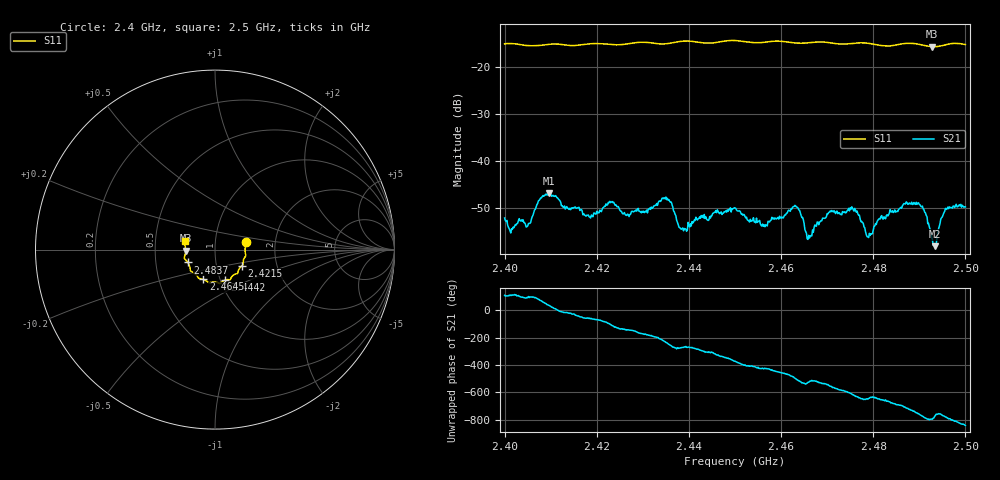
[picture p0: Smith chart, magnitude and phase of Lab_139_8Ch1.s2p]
# Hz S RI R 50
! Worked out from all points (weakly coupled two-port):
!   601 points, 2.4 GHz to 2.5 GHz, reference 50 ohm
!   highest |S21| = -46.96 dB at 2.4097 GHz (marker M1); lowest = -58.2 dB at 2.4933 GHz (marker M2)
!   lowest |S11| = -15.7 dB at 2.4928 GHz (marker M3), VSWR 1.39, Z = 36 - j0.373 ohm
!   |S11| at or under -10 dB: start of sweep to end of sweep
!   S12 and S22 are empty: the file has one direction only
!   S11 on the Smith chart (normalised r, x): 2.4 GHz: 1.41, +0.12; 2.4215 GHz: 1.33, -0.25; 2.4442 GHz: 1.05, -0.37; 2.4645 GHz: 0.83, -0.29; 2.4837 GHz: 0.73, -0.11; 2.5 GHz: 0.71, +0.07
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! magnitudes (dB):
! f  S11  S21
! 2.4 GHz  -15.1  -52.2
! 2.4052 GHz  -15.5  -53.4
! 2.4097 GHz  -15.2  -47.0
! 2.4167 GHz  -15.3  -50.4
! 2.4215 GHz  -15.1  -49.9
! 2.4333 GHz  -15.1  -48.9
! 2.4358 GHz  -15.0  -48.7
! 2.4383 GHz  -14.6  -54.6
! 2.4442 GHz  -15.0  -52.7
! 2.45 GHz  -14.4  -50.1
! 2.4645 GHz  -15.0  -52.1
! 2.4667 GHz  -14.8  -56.1
! 2.471 GHz  -14.9  -50.6
! 2.4758 GHz  -15.0  -50.8
! 2.479 GHz  -15.0  -56.4
! 2.4833 GHz  -15.6  -51.5
! 2.4837 GHz  -15.5  -50.4
! 2.4902 GHz  -15.2  -49.4
! 2.4928 GHz  -15.7  -56.8
! 2.4933 GHz  -15.7  -58.2
! 2.4957 GHz  -15.3  -50.2
! 2.5 GHz  -15.3  -49.8
